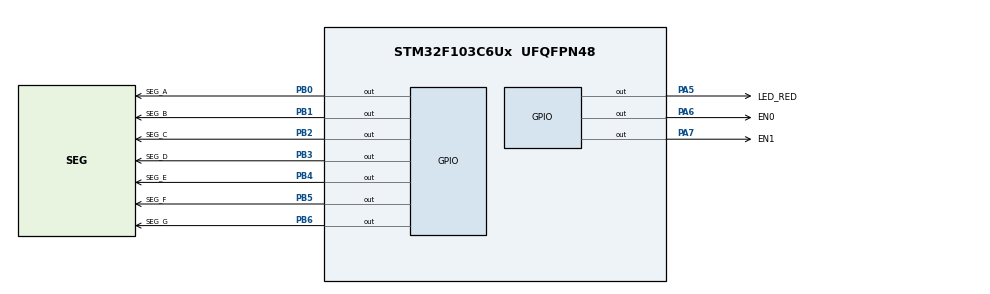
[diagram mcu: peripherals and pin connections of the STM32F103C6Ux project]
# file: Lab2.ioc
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Mcu.Family=STM32F1
Mcu.Name=STM32F103C6Ux
Mcu.Package=UFQFPN48
NVIC.PriorityGroup=NVIC_PRIORITYGROUP_4
NVIC.TIM2_IRQn=true\:0\:0\:false\:false\:true\:true\:true
PA5.GPIO_Label=LED_RED
PA5.Signal=GPIO_Output
PA6.GPIO_Label=EN0
PA6.Signal=GPIO_Output
PA7.GPIO_Label=EN1
PA7.Signal=GPIO_Output
PB0.GPIO_Label=SEG_A
PB0.Signal=GPIO_Output
PB1.GPIO_Label=SEG_B
PB1.Signal=GPIO_Output
PB2.GPIO_Label=SEG_C
PB2.Signal=GPIO_Output
PB3.GPIO_Label=SEG_D
PB3.Signal=GPIO_Output
PB4.GPIO_Label=SEG_E
PB4.Signal=GPIO_Output
PB5.GPIO_Label=SEG_F
PB5.Signal=GPIO_Output
PB6.GPIO_Label=SEG_G
PB6.Signal=GPIO_Output
ProjectManager.HeapSize=0x200
ProjectManager.StackSize=0x400
ProjectManager.TargetToolchain=STM32CubeIDE
RCC.APB1Freq_Value=8000000
RCC.APB2Freq_Value=8000000
TIM2.Period=9
TIM2.Prescaler=7999
VP_SYS_VS_ND.Mode=No_Debug
VP_TIM2_VS_ClockSourceINT.Mode=Internal
board=custom

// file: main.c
/* USER CODE BEGIN Header */
/**
  ******************************************************************************
  * @file           : main.c
  * @brief          : Main program body
  ******************************************************************************
  * @attention
  *
  * <h2><center>&copy; Copyright (c) 2022 STMicroelectronics.
  * All rights reserved.</center></h2>
  *
  * This software component is licensed by ST under BSD 3-Clause license,
  * the "License"; You may not use this file except in compliance with the
  * License. You may obtain a copy of the License at:
  *                        opensource.org/licenses/BSD-3-Clause
  *
  ******************************************************************************
  */
/* USER CODE END Header */
#include "main.h"

TIM_HandleTypeDef htim2;

void SystemClock_Config(void);
static void MX_GPIO_Init(void);
static void MX_TIM2_Init(void);

/* USER CODE BEGIN 0 */
void display7Seg(int num);
void configLedSystem(int state);
/* USER CODE END 0 */

int main(void)
{

  /* MCU Configuration--------------------------------------------------------*/

  /* Reset of all peripherals, Initializes the Flash interface and the Systick. */
  HAL_Init();

  /* Configure the system clock */
  SystemClock_Config();

  /* Initialize all configured peripherals */
  MX_GPIO_Init();
  MX_TIM2_Init();
  /* USER CODE BEGIN 2 */
  HAL_TIM_Base_Start_IT(& htim2);
  /* USER CODE END 2 */

  /* Infinite loop */
  while (1)
  {

  }
}

void SystemClock_Config(void)
{
  RCC_OscInitTypeDef RCC_OscInitStruct = {0};
  RCC_ClkInitTypeDef RCC_ClkInitStruct = {0};

  /** Initializes the RCC Oscillators according to the specified parameters
  * in the RCC_OscInitTypeDef structure.
  */
  RCC_OscInitStruct.OscillatorType = RCC_OSCILLATORTYPE_HSI;
  RCC_OscInitStruct.HSIState = RCC_HSI_ON;
  RCC_OscInitStruct.HSICalibrationValue = RCC_HSICALIBRATION_DEFAULT;
  RCC_OscInitStruct.PLL.PLLState = RCC_PLL_NONE;
  if (HAL_RCC_OscConfig(&RCC_OscInitStruct) != HAL_OK)
  {
    Error_Handler();
  }
  /** Initializes the CPU, AHB and APB buses clocks
  */
  RCC_ClkInitStruct.ClockType = RCC_CLOCKTYPE_HCLK|RCC_CLOCKTYPE_SYSCLK
                              |RCC_CLOCKTYPE_PCLK1|RCC_CLOCKTYPE_PCLK2;
  RCC_ClkInitStruct.SYSCLKSource = RCC_SYSCLKSOURCE_HSI;
  RCC_ClkInitStruct.AHBCLKDivider = RCC_SYSCLK_DIV1;
  RCC_ClkInitStruct.APB1CLKDivider = RCC_HCLK_DIV1;
  RCC_ClkInitStruct.APB2CLKDivider = RCC_HCLK_DIV1;

  if (HAL_RCC_ClockConfig(&RCC_ClkInitStruct, FLASH_LATENCY_0) != HAL_OK)
  {
    Error_Handler();
  }
}

static void MX_TIM2_Init(void)
{

  TIM_ClockConfigTypeDef sClockSourceConfig = {0};
  TIM_MasterConfigTypeDef sMasterConfig = {0};

  htim2.Instance = TIM2;
  htim2.Init.Prescaler = 7999;
  htim2.Init.CounterMode = TIM_COUNTERMODE_UP;
  htim2.Init.Period = 9;
  htim2.Init.ClockDivision = TIM_CLOCKDIVISION_DIV1;
  htim2.Init.AutoReloadPreload = TIM_AUTORELOAD_PRELOAD_DISABLE;
  if (HAL_TIM_Base_Init(&htim2) != HAL_OK)
  {
    Error_Handler();
  }
  sClockSourceConfig.ClockSource = TIM_CLOCKSOURCE_INTERNAL;
  if (HAL_TIM_ConfigClockSource(&htim2, &sClockSourceConfig) != HAL_OK)
  {
    Error_Handler();
  }
  sMasterConfig.MasterOutputTrigger = TIM_TRGO_RESET;
  sMasterConfig.MasterSlaveMode = TIM_MASTERSLAVEMODE_DISABLE;
  if (HAL_TIMEx_MasterConfigSynchronization(&htim2, &sMasterConfig) != HAL_OK)
  {
    Error_Handler();
  }

}

static void MX_GPIO_Init(void)
{
  GPIO_InitTypeDef GPIO_InitStruct = {0};

  /* GPIO Ports Clock Enable */
  __HAL_RCC_GPIOA_CLK_ENABLE();
  __HAL_RCC_GPIOB_CLK_ENABLE();

  /*Configure GPIO pin Output Level */
  HAL_GPIO_WritePin(GPIOA, LED_RED_Pin|EN0_Pin|EN1_Pin, GPIO_PIN_RESET);

  /*Configure GPIO pin Output Level */
  HAL_GPIO_WritePin(GPIOB, SEG_A_Pin|SEG_B_Pin|SEG_C_Pin|SEG_D_Pin
                          |SEG_E_Pin|SEG_F_Pin|SEG_G_Pin, GPIO_PIN_RESET);

  /*Configure GPIO pins : LED_RED_Pin EN0_Pin EN1_Pin */
  GPIO_InitStruct.Pin = LED_RED_Pin|EN0_Pin|EN1_Pin;
  GPIO_InitStruct.Mode = GPIO_MODE_OUTPUT_PP;
  GPIO_InitStruct.Pull = GPIO_NOPULL;
  GPIO_InitStruct.Speed = GPIO_SPEED_FREQ_LOW;
  HAL_GPIO_Init(GPIOA, &GPIO_InitStruct);

  /*Configure GPIO pins : SEG_A_Pin SEG_B_Pin SEG_C_Pin SEG_D_Pin
                           SEG_E_Pin SEG_F_Pin SEG_G_Pin */
  GPIO_InitStruct.Pin = SEG_A_Pin|SEG_B_Pin|SEG_C_Pin|SEG_D_Pin
                          |SEG_E_Pin|SEG_F_Pin|SEG_G_Pin;
  GPIO_InitStruct.Mode = GPIO_MODE_OUTPUT_PP;
  GPIO_InitStruct.Pull = GPIO_NOPULL;
  GPIO_InitStruct.Speed = GPIO_SPEED_FREQ_LOW;
  HAL_GPIO_Init(GPIOB, &GPIO_InitStruct);

}

/* USER CODE BEGIN 4 */
void display7Seg(int num){
	switch (num){
		case 0:{ // display 0 using leds: a, b, c, d, e, f
			HAL_GPIO_WritePin(GPIOB, SEG_A_Pin | SEG_B_Pin | SEG_C_Pin |
									SEG_D_Pin | SEG_E_Pin | SEG_F_Pin, 0);
			HAL_GPIO_WritePin(GPIOB, SEG_G_Pin, 1);
			break;
		}
		case 1:{ // display 1 using leds: b, c
			HAL_GPIO_WritePin(GPIOB, SEG_B_Pin | SEG_C_Pin, 0);
			HAL_GPIO_WritePin(GPIOB, SEG_A_Pin | SEG_D_Pin | SEG_E_Pin |
									SEG_F_Pin | SEG_G_Pin, 1);
			break;
		}
		case 2:{ // display 2 using leds: a, b, d, e, g
			HAL_GPIO_WritePin(GPIOB, SEG_A_Pin | SEG_B_Pin | SEG_D_Pin |
									SEG_E_Pin | SEG_G_Pin, 0);
			HAL_GPIO_WritePin(GPIOB, SEG_C_Pin | SEG_F_Pin, 1);
			break;
		}
		case 3:{ // display 3 using leds: a, b, c, d, g
			HAL_GPIO_WritePin(GPIOB, SEG_A_Pin | SEG_B_Pin | SEG_C_Pin |
									SEG_D_Pin | SEG_G_Pin, 0);
			HAL_GPIO_WritePin(GPIOB, SEG_E_Pin | SEG_F_Pin, 1);
			break;
		}
		case 4:{ // display 4 using leds: b, c, f, g
			HAL_GPIO_WritePin(GPIOB, SEG_B_Pin | SEG_C_Pin | SEG_F_Pin |
									SEG_G_Pin, 0);
			HAL_GPIO_WritePin(GPIOB, SEG_A_Pin | SEG_D_Pin | SEG_E_Pin, 1);
			break;
		}
		case 5:{ // display 5 using leds: a, c, d, f, g
			HAL_GPIO_WritePin(GPIOB, SEG_A_Pin | SEG_C_Pin | SEG_D_Pin |
									SEG_F_Pin | SEG_G_Pin, 0);
			HAL_GPIO_WritePin(GPIOB, SEG_B_Pin | SEG_E_Pin, 1);
			break;
		}
		case 6:{ // display 6 using leds: a, c, d, e, f, g
			HAL_GPIO_WritePin(GPIOB, SEG_A_Pin | SEG_C_Pin | SEG_D_Pin |
									SEG_E_Pin | SEG_F_Pin | SEG_G_Pin, 0);
			HAL_GPIO_WritePin(GPIOB, SEG_B_Pin, 1);
			break;
		}
		case 7:{ // diplay 7 using leds: a, b, c
			HAL_GPIO_WritePin(GPIOB, SEG_A_Pin | SEG_B_Pin | SEG_C_Pin, 0);
			HAL_GPIO_WritePin(GPIOB, SEG_D_Pin | SEG_E_Pin | SEG_F_Pin |
									SEG_G_Pin, 1);
			break;
		}
		case 8:{ // display 8 using leds: a, b, c, d, e, f, g
			HAL_GPIO_WritePin(GPIOB, SEG_A_Pin | SEG_B_Pin | SEG_C_Pin |
									SEG_D_Pin | SEG_E_Pin | SEG_F_Pin |
									SEG_G_Pin, 0);
			break;
		}
		case 9:{ // display 9 using leds: a, b, c, d, f, g
			HAL_GPIO_WritePin(GPIOB, SEG_A_Pin | SEG_B_Pin | SEG_C_Pin |
									SEG_D_Pin | SEG_F_Pin | SEG_G_Pin, 0);
			HAL_GPIO_WritePin(GPIOB, SEG_E_Pin, 1);
			break;
		}
	}
}

//config display for each 7-seg led
void configLedSystem(int state){
	switch (state){
		case 0: {	//Enable led 0, display number 1
			HAL_GPIO_WritePin(GPIOA, EN0_Pin, 0);
			HAL_GPIO_WritePin(GPIOA, EN1_Pin, 1);
			display7Seg(1);
			break;
		}
		case 1: {	//Enable led 1, display number 2
			HAL_GPIO_WritePin(GPIOA, EN0_Pin, 1);
			HAL_GPIO_WritePin(GPIOA, EN1_Pin, 0);
			display7Seg(2);
			break;
		}
	}
}

int count = 50;	//set time for 7-seg led = 50*10ms = 500ms
int count_led = 100; //set time for led red PA5 = 100*10ms = 1000ms
int state = 0; //0: Led 0 ON - 1: Led 1 ON

void HAL_TIM_PeriodElapsedCallback(TIM_HandleTypeDef *htim){
	if (count > 0){	//counter for 7-seg led
		count--;
		if (count <= 0){
			count = 50;
			configLedSystem(state);
			state = !state;
		}
	}

	if (count_led > 0){	//counter for led red PA5
		count_led--;
		if (count_led <= 0){
			count_led = 100;
			HAL_GPIO_TogglePin(GPIOA, LED_RED_Pin);
		}
	}
}
/* USER CODE END 4 */

void Error_Handler(void)
{
  __disable_irq();
  while (1)
  {
  }
}

/************************ (C) COPYRIGHT STMicroelectronics *****END OF FILE****/
